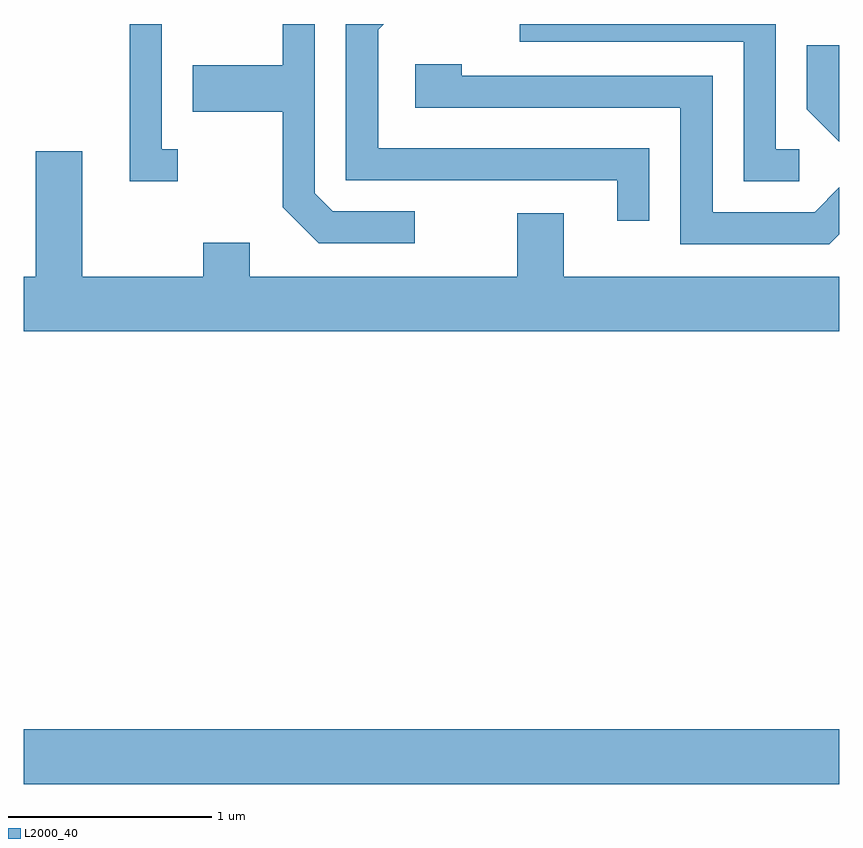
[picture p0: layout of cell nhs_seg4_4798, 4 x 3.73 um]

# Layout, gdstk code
import gdstk
lib = gdstk.Library(unit=1e-6, precision=1e-09)
def R(c, l, rs):  # rectangles x0, y0, x1, y1
    for r in rs: c.add(gdstk.rectangle(r[:2], r[2:], *l))
def P(c, l, *ps):  # polygons
    for p in ps: c.add(gdstk.Polygon(p, *l))
L2000_40 = (2000, 40)

nhs_seg4_4798 = lib.new_cell('nhs_seg4_4798')
R(nhs_seg4_4798, L2000_40, [(325.611,1330.256,329.611,1330.524)])
P(nhs_seg4_4798, L2000_40, [(326.368,1333.369),(326.289,1333.369),(326.289,1333.982),(326.131,1333.982),(326.131,1333.211),(326.368,1333.211)],
  [(329.413,1333.369),(329.299,1333.369),(329.299,1333.982),(328.043,1333.982),(328.043,1333.896),(329.141,1333.896),(329.141,1333.211),(329.413,1333.211)],
  [(328.679,1333.374),(327.349,1333.374),(327.349,1333.954),(327.377,1333.982),(327.191,1333.982),(327.191,1333.216),(328.521,1333.216),(328.521,1333.018),(328.679,1333.018)],
  [(327.528,1333.064),(327.127,1333.064),(327.039,1333.152),(327.039,1333.982),(326.881,1333.982),(326.881,1333.779),(326.441,1333.779),(326.441,1333.551),(326.881,1333.551),(326.881,1333.084),(327.059,1332.906),(327.528,1332.906)],
  [(329.611,1333.63),(329.609,1333.632),(329.609,1333.878),(329.451,1333.878),(329.451,1333.564),(329.611,1333.404)],
  [(329.611,1332.95),(329.611,1333.181),(329.489,1333.059),(328.989,1333.059),(328.989,1333.729),(327.759,1333.729),(327.759,1333.784),(327.531,1333.784),(327.531,1333.571),(328.831,1333.571),(328.831,1332.901),(329.562,1332.901)],
  [(329.611,1332.744),(328.259,1332.744),(328.259,1333.054),(328.031,1333.054),(328.031,1332.744),(326.719,1332.744),(326.719,1332.909),(326.491,1332.909),(326.491,1332.744),(325.899,1332.744),(325.899,1333.359),(325.671,1333.359),(325.671,1332.744),(325.611,1332.744),(325.611,1332.476),(329.611,1332.476)])

lib.write_gds('nhs_seg4_4798.gds')
